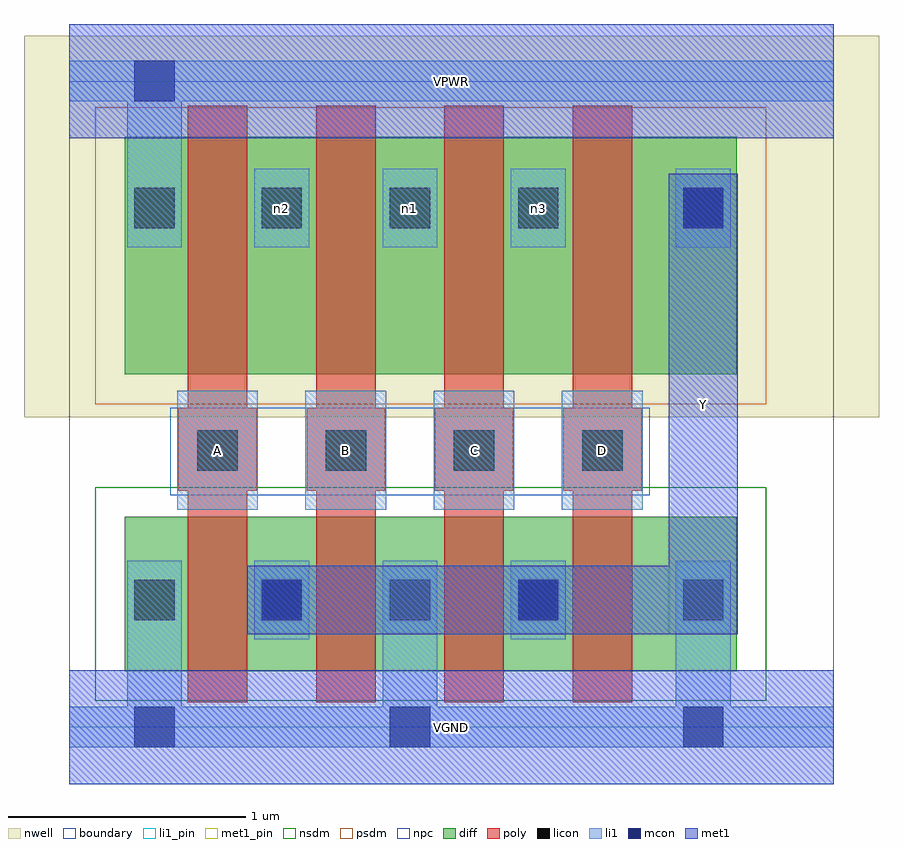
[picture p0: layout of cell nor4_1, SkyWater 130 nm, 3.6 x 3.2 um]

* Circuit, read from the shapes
.subckt nor4_1 A B C D VGND VPWR Y n1 n2 n3
XM1 Y A VGND VSUBS sky130_fd_pr__nfet_01v8 w=0.65 l=0.25
XM2 VGND B Y VSUBS sky130_fd_pr__nfet_01v8 w=0.65 l=0.25
XM3 Y C VGND VSUBS sky130_fd_pr__nfet_01v8 w=0.65 l=0.25
XM4 VGND D Y VSUBS sky130_fd_pr__nfet_01v8 w=0.65 l=0.25
XM5 n2 A VPWR n4 sky130_fd_pr__pfet_01v8 w=1 l=0.25
XM6 n1 B n2 n4 sky130_fd_pr__pfet_01v8 w=1 l=0.25
XM7 n3 C n1 n4 sky130_fd_pr__pfet_01v8 w=1 l=0.25
XM8 Y D n3 n4 sky130_fd_pr__pfet_01v8 w=1 l=0.25
.ends

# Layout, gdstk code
import gdstk
lib = gdstk.Library(unit=1e-6, precision=1e-09)
def R(c, l, rs):  # rectangles x0, y0, x1, y1
    for r in rs: c.add(gdstk.rectangle(r[:2], r[2:], *l))
def A(c, l, x, y, w, h, nx, ny, dx, dy):  # array of equal rectangles
    R(c, l, [(x+i*dx, y+j*dy, x+i*dx+w, y+j*dy+h) for i in range(nx) for j in range(ny)])
nwell = (64, 20)
diff = (65, 20)
poly = (66, 20)
licon = (66, 44)
li1_pin = (67, 16)
li1 = (67, 20)
mcon = (67, 44)
met1_pin = (68, 16)
met1 = (68, 20)
nsdm = (93, 44)
psdm = (94, 20)
npc = (95, 20)
boundary = (235, 4)

nor4_1 = lib.new_cell('nor4_1')
R(nor4_1, nwell, [(-0.19,1.305,3.41,2.91), (0,1.305,3.22,2.91)])
R(nor4_1, diff, [(0.235,0.235,2.81,0.885), (0.235,1.485,2.81,2.485)])
A(nor4_1, poly, 0.5, 0.105, 0.25, 2.51, 4, 1, 0.54, 0)
A(nor4_1, poly, 0.46, 0.995, 0.33, 0.35, 4, 1, 0.54, 0)
A(nor4_1, licon, 0.81, 0.45, 0.17, 0.17, 3, 2, 0.54, 1.65)
A(nor4_1, licon, 0.54, 1.08, 0.17, 0.17, 4, 1, 0.54, 0)
R(nor4_1, licon, [(0.275,0.45,0.445,0.62), (2.585,0.45,2.755,0.62), (0.275,2.1,0.445,2.27), (2.585,2.1,2.755,2.27)])
A(nor4_1, li1_pin, 0.455, 0.915, 0.34, 0.5, 4, 1, 0.54, 0)
A(nor4_1, li1, 0.455, 0.915, 0.34, 0.5, 4, 1, 0.54, 0)
A(nor4_1, li1, 0.78, 2.02, 0.23, 0.33, 3, 1, 0.54, 0)
R(nor4_1, li1, [(0,-0.085,3.22,0.085), (0.245,-0.085,0.475,0.7), (1.32,-0.085,1.55,0.7), (2.555,-0.085,2.785,0.7), (0.78,0.37,1.01,0.7), (1.86,0.37,2.09,0.7), (0.245,2.02,0.475,2.805), (2.555,2.02,2.785,2.35), (0,2.635,3.22,2.805)])
R(nor4_1, mcon, [(0.275,-0.085,0.445,0.085), (1.35,-0.085,1.52,0.085), (2.585,-0.085,2.755,0.085), (0.81,0.45,0.98,0.62), (1.89,0.45,2.06,0.62), (2.585,2.1,2.755,2.27), (0.275,2.635,0.445,2.805)])
R(nor4_1, met1_pin, [(0,-0.24,3.22,0.24), (2.525,0.39,2.815,2.33), (0,2.48,3.22,2.96)])
R(nor4_1, met1, [(0,-0.24,3.22,0.24), (0.75,0.39,2.815,0.68), (2.525,0.39,2.815,2.33), (0,2.48,3.22,2.96)])
R(nor4_1, nsdm, [(0.11,0.11,2.935,1.01)])
R(nor4_1, psdm, [(0.11,1.36,2.935,2.61)])
R(nor4_1, npc, [(0.425,0.975,2.445,1.345)])
R(nor4_1, boundary, [(0,0,3.22,2.72)])
nor4_1.add(gdstk.Label('A', (0.625,1.165), layer=67, texttype=5))
nor4_1.add(gdstk.Label('B', (1.165,1.165), layer=67, texttype=5))
nor4_1.add(gdstk.Label('C', (1.705,1.165), layer=67, texttype=5))
nor4_1.add(gdstk.Label('D', (2.245,1.165), layer=67, texttype=5))
nor4_1.add(gdstk.Label('n2', (0.895,2.185), layer=67, texttype=5))
nor4_1.add(gdstk.Label('n1', (1.435,2.185), layer=67, texttype=5))
nor4_1.add(gdstk.Label('n3', (1.975,2.185), layer=67, texttype=5))
nor4_1.add(gdstk.Label('Y', (2.67,1.36), layer=68, texttype=5))
nor4_1.add(gdstk.Label('VPWR', (1.61,2.72), layer=68, texttype=5))
nor4_1.add(gdstk.Label('VGND', (1.61,0), layer=68, texttype=5))
nor4_1.add(gdstk.Label('A', (0.625,1.165), layer=67, texttype=16))
nor4_1.add(gdstk.Label('B', (1.165,1.165), layer=67, texttype=16))
nor4_1.add(gdstk.Label('C', (1.705,1.165), layer=67, texttype=16))
nor4_1.add(gdstk.Label('D', (2.245,1.165), layer=67, texttype=16))
nor4_1.add(gdstk.Label('Y', (2.67,1.36), layer=68, texttype=16))
nor4_1.add(gdstk.Label('VPWR', (1.61,2.72), layer=68, texttype=16))
nor4_1.add(gdstk.Label('VGND', (1.61,0), layer=68, texttype=16))

lib.write_gds('nor4_1.gds')
